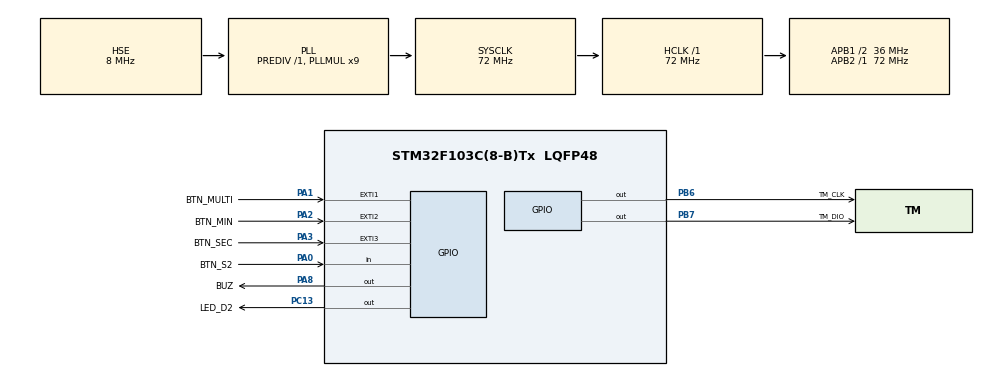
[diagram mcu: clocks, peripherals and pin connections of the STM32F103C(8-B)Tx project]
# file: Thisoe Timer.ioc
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Mcu.Family=STM32F1
Mcu.Name=STM32F103C(8-B)Tx
Mcu.Package=LQFP48
NVIC.EXTI1_IRQn=true\:0\:0\:false\:false\:true\:true\:true\:true
NVIC.EXTI2_IRQn=true\:0\:0\:false\:false\:true\:true\:true\:true
NVIC.EXTI3_IRQn=true\:0\:0\:false\:false\:true\:true\:true\:true
NVIC.PriorityGroup=NVIC_PRIORITYGROUP_4
NVIC.TIM2_IRQn=true\:0\:0\:false\:false\:true\:true\:true\:true
PA0-WKUP.GPIO_Label=BTN_S2
PA0-WKUP.GPIO_PuPd=GPIO_PULLUP
PA0-WKUP.Signal=GPIO_Input
PA1.GPIO_Label=BTN_MULTI
PA1.GPIO_ModeDefaultEXTI=GPIO_MODE_IT_RISING
PA1.GPIO_PuPd=GPIO_PULLDOWN
PA1.Signal=GPXTI1
PA13.Mode=Serial_Wire
PA13.Signal=SYS_JTMS-SWDIO
PA14.Mode=Serial_Wire
PA14.Signal=SYS_JTCK-SWCLK
PA2.GPIO_Label=BTN_MIN
PA2.GPIO_ModeDefaultEXTI=GPIO_MODE_IT_RISING
PA2.GPIO_PuPd=GPIO_PULLDOWN
PA2.Signal=GPXTI2
PA3.GPIO_Label=BTN_SEC
PA3.GPIO_ModeDefaultEXTI=GPIO_MODE_IT_RISING
PA3.GPIO_PuPd=GPIO_PULLDOWN
PA3.Signal=GPXTI3
PA8.GPIO_Label=BUZ
PA8.GPIO_PuPd=GPIO_PULLUP
PA8.GPIO_Speed=GPIO_SPEED_FREQ_LOW
PA8.Signal=GPIO_Output
PB6.GPIO_Label=TM_CLK
PB6.GPIO_ModeDefaultOutputPP=GPIO_MODE_OUTPUT_OD
PB6.GPIO_PuPd=GPIO_NOPULL
PB6.GPIO_Speed=GPIO_SPEED_FREQ_MEDIUM
PB6.PinState=GPIO_PIN_SET
PB6.Signal=GPIO_Output
PB7.GPIO_Label=TM_DIO
PB7.GPIO_ModeDefaultOutputPP=GPIO_MODE_OUTPUT_OD
PB7.GPIO_PuPd=GPIO_NOPULL
PB7.GPIO_Speed=GPIO_SPEED_FREQ_MEDIUM
PB7.PinState=GPIO_PIN_SET
PB7.Signal=GPIO_Output
PC13-TAMPER-RTC.GPIO_Label=LED_D2
PC13-TAMPER-RTC.PinState=GPIO_PIN_RESET
PC13-TAMPER-RTC.Signal=GPIO_Output
PD0-OSC_IN.Mode=HSE-External-Oscillator
PD0-OSC_IN.Signal=RCC_OSC_IN
PD1-OSC_OUT.Mode=HSE-External-Oscillator
PD1-OSC_OUT.Signal=RCC_OSC_OUT
ProjectManager.HeapSize=0x200
ProjectManager.StackSize=0x400
ProjectManager.TargetToolchain=STM32CubeIDE
RCC.AHBFreq_Value=72000000
RCC.APB1CLKDivider=RCC_HCLK_DIV2
RCC.APB1Freq_Value=36000000
RCC.APB1TimFreq_Value=72000000
RCC.APB2Freq_Value=72000000
RCC.APB2TimFreq_Value=72000000
RCC.HCLKFreq_Value=72000000
RCC.PLLMUL=RCC_PLL_MUL9
RCC.PLLSourceVirtual=RCC_PLLSOURCE_HSE
RCC.SYSCLKFreq_VALUE=72000000
RCC.SYSCLKSource=RCC_SYSCLKSOURCE_PLLCLK
RCC.USBFreq_Value=72000000
TIM2.Period=5000-1
TIM2.Prescaler=7200-1
VP_TIM2_VS_ClockSourceINT.Mode=Internal
board=custom

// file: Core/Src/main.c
/* USER CODE BEGIN Header */
/**
  ******************************************************************************
  * @file           : main.c
  * @brief          : Main program body
  ******************************************************************************
  * @attention
  *
  * Copyright (c) 2026 STMicroelectronics.
  * All rights reserved.
  *
  * This software is licensed under terms that can be found in the LICENSE file
  * in the root directory of this software component.
  * If no LICENSE file comes with this software, it is provided AS-IS.
  *
  ******************************************************************************
  */
/* USER CODE END Header */
#include "main.h"

/* USER CODE BEGIN Includes */
#include "tm1637.h"
#include "flag.h"
#include "thisoe.h"
/* USER CODE END Includes */

TIM_HandleTypeDef htim2;

/* USER CODE BEGIN PV */

tm1637_t seg = {
  .gpio_clk = TM_CLK_GPIO_Port,
  .gpio_dat = TM_DIO_GPIO_Port,
  .pin_clk = TM_CLK_Pin,
  .pin_dat = TM_DIO_Pin,
  .seg_cnt = 4,
};

tm1637_t *TM = &seg;

/* USER CODE END PV */

void SystemClock_Config(void);
static void MX_GPIO_Init(void);
static void MX_TIM2_Init(void);

int main(void)
{

  /* MCU Configuration--------------------------------------------------------*/

  /* Reset of all peripherals, Initializes the Flash interface and the Systick. */
  HAL_Init();

  /* Configure the system clock */
  SystemClock_Config();

  /* Initialize all configured peripherals */
  MX_GPIO_Init();
  MX_TIM2_Init();
  /* USER CODE BEGIN 2 */

  // Enable clock timer interrupt
  HAL_TIM_Base_Start_IT(&htim2);

  led(1);

  bind_state(TM,0,0);
  bind_btn(&B_MULTI);
  bind_btn(&B_MIN);
  bind_btn(&B_SEC);
  // TM1637 init
  tm1637_init(TM);
  tm1637_brightness(TM,7);
  tm1637_str(TM," HI ");
  HAL_Delay(2333);
  tm1637_str(TM,"    "); // SCREEN OFF
  HAL_Delay(777);

  led(0);

  // Thisoe Timer Init
  settime(1u);

  /* USER CODE END 2 */

  /* Infinite loop */
  /* USER CODE BEGIN WHILE */
  while (1)
  {
    thisoe_timer();

    // interrupt-driven firmware
    __WFI();

    /* USER CODE END WHILE */

    /* USER CODE BEGIN 3 */

    // // TESTS 1
    // led(r_multi()||r_min());
    // buz(r_multi()||r_sec());
    // countup();
    // settime(1u);
    // HAL_Delay(500);
    // settime(0);
    // HAL_Delay(500);

    // // TESTS 2
    // if(GF.tim2){
    //   GF.tim2 = 0;
    //   if(GF.colon) countup();
    //   GF.colon ^= 1;
    //   settime(GF.colon);
    // }

  }
  /* USER CODE END 3 */
}

void SystemClock_Config(void)
{
  RCC_OscInitTypeDef RCC_OscInitStruct = {0};
  RCC_ClkInitTypeDef RCC_ClkInitStruct = {0};

  /** Initializes the RCC Oscillators according to the specified parameters
  * in the RCC_OscInitTypeDef structure.
  */
  RCC_OscInitStruct.OscillatorType = RCC_OSCILLATORTYPE_HSE;
  RCC_OscInitStruct.HSEState = RCC_HSE_ON;
  RCC_OscInitStruct.HSEPredivValue = RCC_HSE_PREDIV_DIV1;
  RCC_OscInitStruct.HSIState = RCC_HSI_ON;
  RCC_OscInitStruct.PLL.PLLState = RCC_PLL_ON;
  RCC_OscInitStruct.PLL.PLLSource = RCC_PLLSOURCE_HSE;
  RCC_OscInitStruct.PLL.PLLMUL = RCC_PLL_MUL9;
  if (HAL_RCC_OscConfig(&RCC_OscInitStruct) != HAL_OK)
  {
    Error_Handler();
  }

  /** Initializes the CPU, AHB and APB buses clocks
  */
  RCC_ClkInitStruct.ClockType = RCC_CLOCKTYPE_HCLK|RCC_CLOCKTYPE_SYSCLK
                              |RCC_CLOCKTYPE_PCLK1|RCC_CLOCKTYPE_PCLK2;
  RCC_ClkInitStruct.SYSCLKSource = RCC_SYSCLKSOURCE_PLLCLK;
  RCC_ClkInitStruct.AHBCLKDivider = RCC_SYSCLK_DIV1;
  RCC_ClkInitStruct.APB1CLKDivider = RCC_HCLK_DIV2;
  RCC_ClkInitStruct.APB2CLKDivider = RCC_HCLK_DIV1;

  if (HAL_RCC_ClockConfig(&RCC_ClkInitStruct, FLASH_LATENCY_2) != HAL_OK)
  {
    Error_Handler();
  }
}

static void MX_TIM2_Init(void)
{

  TIM_ClockConfigTypeDef sClockSourceConfig = {0};
  TIM_MasterConfigTypeDef sMasterConfig = {0};

  htim2.Instance = TIM2;
  htim2.Init.Prescaler = 7200-1;
  htim2.Init.CounterMode = TIM_COUNTERMODE_UP;
  htim2.Init.Period = 5000-1;
  htim2.Init.ClockDivision = TIM_CLOCKDIVISION_DIV1;
  htim2.Init.AutoReloadPreload = TIM_AUTORELOAD_PRELOAD_DISABLE;
  if (HAL_TIM_Base_Init(&htim2) != HAL_OK)
  {
    Error_Handler();
  }
  sClockSourceConfig.ClockSource = TIM_CLOCKSOURCE_INTERNAL;
  if (HAL_TIM_ConfigClockSource(&htim2, &sClockSourceConfig) != HAL_OK)
  {
    Error_Handler();
  }
  sMasterConfig.MasterOutputTrigger = TIM_TRGO_RESET;
  sMasterConfig.MasterSlaveMode = TIM_MASTERSLAVEMODE_DISABLE;
  if (HAL_TIMEx_MasterConfigSynchronization(&htim2, &sMasterConfig) != HAL_OK)
  {
    Error_Handler();
  }

}

static void MX_GPIO_Init(void)
{
  GPIO_InitTypeDef GPIO_InitStruct = {0};

  /* GPIO Ports Clock Enable */
  __HAL_RCC_GPIOC_CLK_ENABLE();
  __HAL_RCC_GPIOD_CLK_ENABLE();
  __HAL_RCC_GPIOA_CLK_ENABLE();
  __HAL_RCC_GPIOB_CLK_ENABLE();

  /*Configure GPIO pin Output Level */
  HAL_GPIO_WritePin(LED_D2_GPIO_Port, LED_D2_Pin, GPIO_PIN_RESET);

  /*Configure GPIO pin Output Level */
  HAL_GPIO_WritePin(BUZ_GPIO_Port, BUZ_Pin, GPIO_PIN_RESET);

  /*Configure GPIO pin Output Level */
  HAL_GPIO_WritePin(GPIOB, TM_CLK_Pin|TM_DIO_Pin, GPIO_PIN_SET);

  /*Configure GPIO pin : LED_D2_Pin */
  GPIO_InitStruct.Pin = LED_D2_Pin;
  GPIO_InitStruct.Mode = GPIO_MODE_OUTPUT_PP;
  GPIO_InitStruct.Pull = GPIO_NOPULL;
  GPIO_InitStruct.Speed = GPIO_SPEED_FREQ_LOW;
  HAL_GPIO_Init(LED_D2_GPIO_Port, &GPIO_InitStruct);

  /*Configure GPIO pin : BTN_S2_Pin */
  GPIO_InitStruct.Pin = BTN_S2_Pin;
  GPIO_InitStruct.Mode = GPIO_MODE_INPUT;
  GPIO_InitStruct.Pull = GPIO_PULLUP;
  HAL_GPIO_Init(BTN_S2_GPIO_Port, &GPIO_InitStruct);

  /*Configure GPIO pins : BTN_MULTI_Pin BTN_MIN_Pin BTN_SEC_Pin */
  GPIO_InitStruct.Pin = BTN_MULTI_Pin|BTN_MIN_Pin|BTN_SEC_Pin;
  GPIO_InitStruct.Mode = GPIO_MODE_IT_RISING;
  GPIO_InitStruct.Pull = GPIO_PULLDOWN;
  HAL_GPIO_Init(GPIOA, &GPIO_InitStruct);

  /*Configure GPIO pin : BUZ_Pin */
  GPIO_InitStruct.Pin = BUZ_Pin;
  GPIO_InitStruct.Mode = GPIO_MODE_OUTPUT_PP;
  GPIO_InitStruct.Pull = GPIO_PULLUP;
  GPIO_InitStruct.Speed = GPIO_SPEED_FREQ_LOW;
  HAL_GPIO_Init(BUZ_GPIO_Port, &GPIO_InitStruct);

  /*Configure GPIO pins : TM_CLK_Pin TM_DIO_Pin */
  GPIO_InitStruct.Pin = TM_CLK_Pin|TM_DIO_Pin;
  GPIO_InitStruct.Mode = GPIO_MODE_OUTPUT_OD;
  GPIO_InitStruct.Pull = GPIO_NOPULL;
  GPIO_InitStruct.Speed = GPIO_SPEED_FREQ_MEDIUM;
  HAL_GPIO_Init(GPIOB, &GPIO_InitStruct);

  /* EXTI interrupt init*/
  HAL_NVIC_SetPriority(EXTI1_IRQn, 0, 0);
  HAL_NVIC_EnableIRQ(EXTI1_IRQn);

  HAL_NVIC_SetPriority(EXTI2_IRQn, 0, 0);
  HAL_NVIC_EnableIRQ(EXTI2_IRQn);

  HAL_NVIC_SetPriority(EXTI3_IRQn, 0, 0);
  HAL_NVIC_EnableIRQ(EXTI3_IRQn);

}

/* USER CODE BEGIN 4 */

// TIM ISR

void HAL_TIM_PeriodElapsedCallback(TIM_HandleTypeDef *htim){
  if(htim->Instance==TIM2){
    GF.tim2 = 1u;
  }
}

// EXTI ISR

void HAL_GPIO_EXTI_Callback(uint16_t pin){
  if(pin==BTN_MULTI_Pin) thisoe_startstop();
  if(pin==BTN_MIN_Pin) thisoe_addtime(1);
  if(pin==BTN_SEC_Pin) thisoe_addtime(0);
}

/* USER CODE END 4 */

void Error_Handler(void)
{
  __disable_irq();
  while (1)
  {
  }
}
